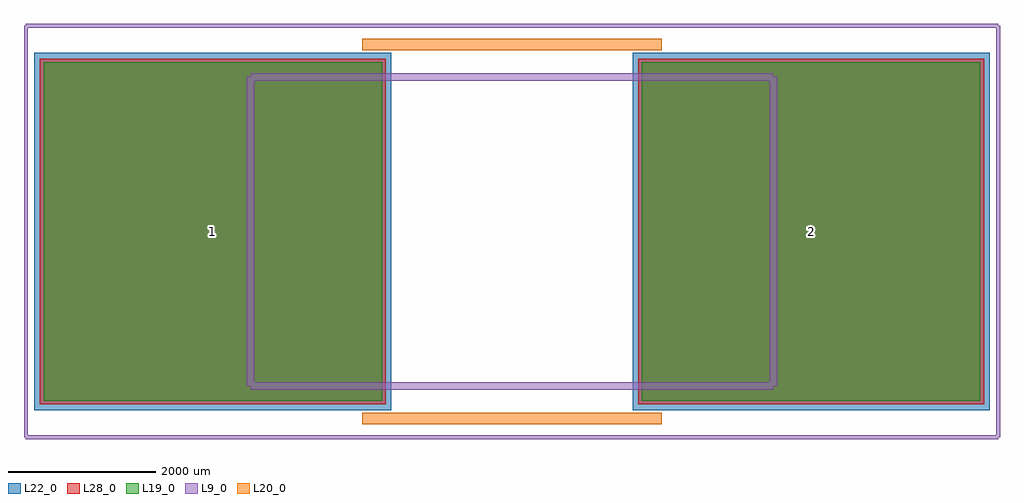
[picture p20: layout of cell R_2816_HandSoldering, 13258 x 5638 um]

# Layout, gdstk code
import gdstk
lib = gdstk.Library(unit=1e-6, precision=1e-09)
def R(c, l, rs):  # rectangles x0, y0, x1, y1
    for r in rs: c.add(gdstk.rectangle(r[:2], r[2:], *l))
L9_0 = (9, 0)
L19_0 = (19, 0)
L20_0 = (20, 0)
L22_0 = (22, 0)
L28_0 = (28, 0)

r_2816_handsoldering = lib.new_cell('R_2816_HandSoldering')
R(r_2816_handsoldering, L19_0, [(-6364,-2300,-1764,2300), (1764,-2300,6364,2300)])
R(r_2816_handsoldering, L22_0, [(-6489,-2425,-1639,2425), (1639,-2425,6489,2425)])
R(r_2816_handsoldering, L28_0, [(-6414,-2350,-1714,2350), (1714,-2350,6414,2350)])
r_2816_handsoldering.add(gdstk.FlexPath([(-2032,2540),(2032,2540)], 149.998, ends="flush", simple_path=True, layer=20, datatype=0))  # L20_0
r_2816_handsoldering.add(gdstk.FlexPath([(-2032,-2540),(2032,-2540)], 149.998, ends="flush", simple_path=True, layer=20, datatype=0))  # L20_0
r_2816_handsoldering.add(gdstk.FlexPath([(-6604,-2794),(-6604,2794)], 50, ends="flush", simple_path=True, layer=9, datatype=0))  # L9_0
r_2816_handsoldering.add(gdstk.FlexPath([(6604,-2794),(-6604,-2794)], 50, ends="flush", simple_path=True, layer=9, datatype=0))  # L9_0
r_2816_handsoldering.add(gdstk.FlexPath([(6604,2794),(6604,-2794)], 50, ends="flush", simple_path=True, layer=9, datatype=0))  # L9_0
r_2816_handsoldering.add(gdstk.FlexPath([(-6604,2794),(6604,2794)], 50, ends="flush", simple_path=True, layer=9, datatype=0))  # L9_0
r_2816_handsoldering.add(gdstk.FlexPath([(-3550,2100),(3550,2100)], 100, ends="flush", simple_path=True, layer=9, datatype=0))  # L9_0
r_2816_handsoldering.add(gdstk.FlexPath([(3550,2100),(3550,-2100)], 100, ends="flush", simple_path=True, layer=9, datatype=0))  # L9_0
r_2816_handsoldering.add(gdstk.FlexPath([(3550,-2100),(-3550,-2100)], 100, ends="flush", simple_path=True, layer=9, datatype=0))  # L9_0
r_2816_handsoldering.add(gdstk.FlexPath([(-3550,-2100),(-3550,2100)], 100, ends="flush", simple_path=True, layer=9, datatype=0))  # L9_0
r_2816_handsoldering.add(gdstk.Label('2', (4064,0), layer=28, texttype=0))
r_2816_handsoldering.add(gdstk.Label('1', (-4064,0), layer=28, texttype=0))
r_2816_handsoldering.add(gdstk.Label('type', (0,-3810), layer=9, texttype=0))
r_2816_handsoldering.add(gdstk.Label('devicename', (0,3810), layer=9, texttype=0))

lib.write_gds('R_2816_HandSoldering.gds')
